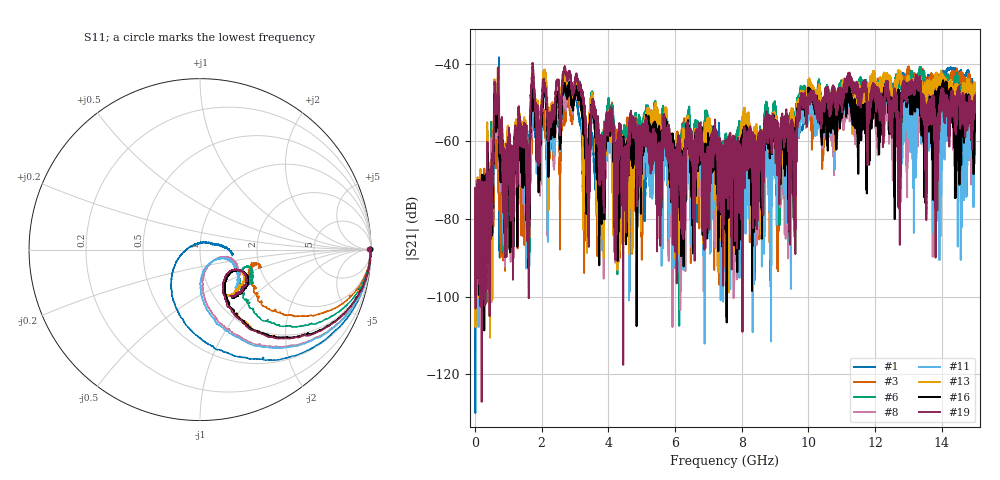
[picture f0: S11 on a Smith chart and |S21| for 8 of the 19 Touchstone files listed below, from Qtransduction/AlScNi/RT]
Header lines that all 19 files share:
!Agilent Technologies,N5230C,SG49000117,A.08.50.07
!Agilent N5230C: A.08.50.07
!Correction: S11(Full 2 Port(1,2))
!S21(Full 2 Port(1,2))
!S12(Full 2 Port(1,2))
!S22(Full 2 Port(1,2))
!S2P File: Measurements: S11, S21, S12, S22:
# Hz S  RI  R 50
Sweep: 300 kHz to 15 GHz
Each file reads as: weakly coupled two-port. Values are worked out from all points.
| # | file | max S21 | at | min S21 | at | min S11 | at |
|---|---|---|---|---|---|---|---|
| 1 | B0.s2p | -38.35 dB | 721.8 MHz | -129.9 dB | 8.55 MHz | -29.2 dB | 10.95 GHz |
| 2 | B1.s2p | -40.70 dB | 721.8 MHz | -109.7 dB | 61.8 MHz | -30.5 dB | 11 GHz |
| 3 | B2.s2p | -40.66 dB | 13.01 GHz | -105.2 dB | 7.542 GHz | -10.2 dB | 11.14 GHz |
| 4 | B3.s2p | -43.55 dB | 13.48 GHz | -111.4 dB | 73.05 MHz | -17.1 dB | 8.269 GHz |
| 5 | C1.s2p | -42.28 dB | 13.36 GHz | -108.6 dB | 88.05 MHz | -20.3 dB | 8.261 GHz |
| 6 | C2.s2p | -40.79 dB | 13.34 GHz | -107.4 dB | 6.127 GHz | -11.4 dB | 7.004 GHz |
| 7 | C3.s2p | -43.29 dB | 13.39 GHz | -118.2 dB | 40.05 MHz | -16.8 dB | 7.994 GHz |
| 8 | C4.s2p | -44.93 dB | 14.07 GHz | -107.8 dB | 5.925 GHz | -20.1 dB | 8.157 GHz |
| 9 | C5.s2p | -45.28 dB | 14.07 GHz | -102.9 dB | 4.4 GHz | -20.2 dB | 8.27 GHz |
| 10 | C6.s2p | -44.04 dB | 2.825 GHz | -105.9 dB | 1.603 GHz | -18.7 dB | 8.268 GHz |
| 11 | C7.s2p | -43.59 dB | 2.831 GHz | -112.1 dB | 6.89 GHz | -20.3 dB | 8.268 GHz |
| 12 | D0.s2p | -37.19 dB | 13.84 GHz | -105.9 dB | 84.3 MHz | -13.6 dB | 6.974 GHz |
| 13 | D1.s2p | -41.07 dB | 685.8 MHz | -110.5 dB | 450.3 MHz | -13.5 dB | 7.014 GHz |
| 14 | D2.s2p | -41.83 dB | 688.8 MHz | -109.1 dB | 399.3 MHz | -13.2 dB | 6.681 GHz |
| 15 | D3.s2p | -43.41 dB | 14.05 GHz | -103.8 dB | 63.3 MHz | -13.1 dB | 6.685 GHz |
| 16 | D4.s2p | -43.82 dB | 691.8 MHz | -108.7 dB | 277 MHz | -13.1 dB | 6.662 GHz |
| 17 | D5.s2p | -42.61 dB | 692.5 MHz | -109.6 dB | 64.8 MHz | -13.1 dB | 6.683 GHz |
| 18 | D6.s2p | -40.36 dB | 1.731 GHz | -104.5 dB | 12.78 GHz | -13.5 dB | 6.974 GHz |
| 19 | D7.s2p | -39.79 dB | 1.728 GHz | -127.0 dB | 200.5 MHz | -13.5 dB | 6.672 GHz |
